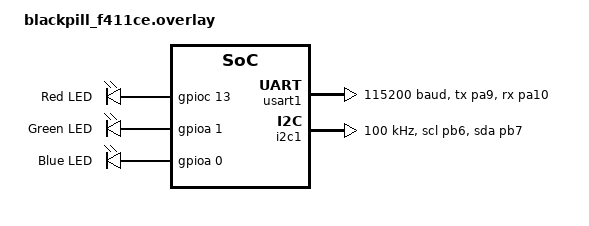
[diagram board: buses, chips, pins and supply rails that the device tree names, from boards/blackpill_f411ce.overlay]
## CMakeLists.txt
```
# CMakeLists.txt - Enhanced AHT10 project with LED control and UART
cmake_minimum_required(VERSION 3.20.0)

find_package(Zephyr REQUIRED HINTS $ENV{ZEPHYR_BASE})
project(aht10_led_uart_controller)

target_sources(app PRIVATE src/main.c)

# Set the board if not specified
if(NOT DEFINED BOARD)
    set(BOARD blackpill_f411ce)
endif()

# Add any additional compile definitions if needed
target_compile_definitions(app PRIVATE
    # Add any project-specific definitions here
)
```

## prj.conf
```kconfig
# prj.conf - Project Configuration for AHT10 with LED Control and UART

# I2C Configuration
CONFIG_I2C=y

# UART Configuration
CONFIG_UART_CONSOLE=y
CONFIG_CONSOLE=y
CONFIG_SERIAL=y
CONFIG_UART_INTERRUPT_DRIVEN=n

# GPIO Configuration
CONFIG_GPIO=y

# Printing and Logging
CONFIG_PRINTK=y
CONFIG_LOG=y
CONFIG_LOG_DEFAULT_LEVEL=3

# Standard C Library
CONFIG_NEWLIB_LIBC=y
CONFIG_NEWLIB_LIBC_FLOAT_PRINTF=y

# System Configuration
CONFIG_MAIN_STACK_SIZE=2048
CONFIG_SYSTEM_WORKQUEUE_STACK_SIZE=1024

# Device Tree support is enabled by default in Zephyr
# No explicit CONFIG_DT option needed
```

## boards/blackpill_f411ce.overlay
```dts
// blackpill_f411ce.overlay - Device Tree Overlay for STM32F411CEU6 BlackPill
// This file should be placed in your project root or boards directory

/ {
    aliases {
        led0 = &red_led;
        led1 = &green_led;
        led2 = &blue_led;
    };

    leds {
        compatible = "gpio-leds";
        
        red_led: led_0 {
            gpios = <&gpioc 13 GPIO_ACTIVE_HIGH>;  // PC13 - Red LED
            label = "Red LED";
        };
        
        green_led: led_1 {
            gpios = <&gpioa 1 GPIO_ACTIVE_HIGH>;   // PA1 - Green LED  
            label = "Green LED";
        };
        
        blue_led: led_2 {
            gpios = <&gpioa 0 GPIO_ACTIVE_HIGH>;   // PA0 - Blue LED
            label = "Blue LED";
        };
    };
};

// Enable UART1 for USB-TTL communication
&usart1 {
    status = "okay";
    current-speed = <115200>;
    pinctrl-0 = <&usart1_tx_pa9 &usart1_rx_pa10>;
    pinctrl-names = "default";
};

// Enable I2C1 for AHT10 sensor
&i2c1 {
    status = "okay";
    clock-frequency = <I2C_BITRATE_STANDARD>;
    pinctrl-0 = <&i2c1_scl_pb6 &i2c1_sda_pb7>;
    pinctrl-names = "default";
};

// Enable the necessary GPIO ports
&gpioa {
    status = "okay";
};

&gpiob {
    status = "okay";
};

&gpioc {
    status = "okay";
};
```

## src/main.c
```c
// main.c - AHT10 Temperature & Humidity Reader with LED Control and UART Output
// for STM32F411CEU6 BlackPill
#include <zephyr/kernel.h>
#include <zephyr/device.h>
#include <zephyr/drivers/i2c.h>
#include <zephyr/drivers/uart.h>
#include <zephyr/drivers/gpio.h>
#include <zephyr/sys/printk.h>
#include <zephyr/logging/log.h>
#include <stdio.h>
#include <string.h>

LOG_MODULE_REGISTER(aht10_reader, LOG_LEVEL_INF);

// AHT10 I2C address
#define AHT10_I2C_ADDR 0x38

// AHT10 Commands
#define AHT10_CMD_INIT          0xE1
#define AHT10_CMD_TRIGGER       0xAC
#define AHT10_CMD_SOFT_RESET    0xBA
#define AHT10_STATUS_BUSY       0x80
#define AHT10_STATUS_CALIBRATED 0x08

// Temperature and humidity thresholds for LED control
#define TEMP_LOW_THRESHOLD      20.0f   // Below this: Blue LED
#define TEMP_HIGH_THRESHOLD     25.0f   // Above this: Red LED
#define HUMIDITY_HIGH_THRESHOLD 60.0f   // Above this: Green LED

// GPIO LED definitions (adjust pins according to your setup)
#define LED_RED_NODE    DT_ALIAS(led0)      // Red LED - High temperature
#define LED_GREEN_NODE  DT_ALIAS(led1)      // Green LED - High humidity  
#define LED_BLUE_NODE   DT_ALIAS(led2)      // Blue LED - Low temperature

// Device pointers
static const struct device *i2c_dev;
static const struct device *uart_dev;

// GPIO LED specifications
static struct gpio_dt_spec red_led = GPIO_DT_SPEC_GET(LED_RED_NODE, gpios);
static struct gpio_dt_spec green_led = GPIO_DT_SPEC_GET(LED_GREEN_NODE, gpios);
static struct gpio_dt_spec blue_led = GPIO_DT_SPEC_GET(LED_BLUE_NODE, gpios);

// Function to initialize GPIO LEDs
int init_leds(void)
{
    int ret;
    
    printk("Initializing LEDs...\n");
    
    // Configure red LED
    if (!gpio_is_ready_dt(&red_led)) {
        printk("ERROR: Red LED GPIO device not ready\n");
        return -1;
    }
    ret = gpio_pin_configure_dt(&red_led, GPIO_OUTPUT_INACTIVE);
    if (ret < 0) {
        printk("ERROR: Failed to configure red LED GPIO\n");
        return ret;
    }
    
    // Configure green LED
    if (!gpio_is_ready_dt(&green_led)) {
        printk("ERROR: Green LED GPIO device not ready\n");
        return -1;
    }
    ret = gpio_pin_configure_dt(&green_led, GPIO_OUTPUT_INACTIVE);
    if (ret < 0) {
        printk("ERROR: Failed to configure green LED GPIO\n");
        return ret;
    }
    
    // Configure blue LED
    if (!gpio_is_ready_dt(&blue_led)) {
        printk("ERROR: Blue LED GPIO device not ready\n");
        return -1;
    }
    ret = gpio_pin_configure_dt(&blue_led, GPIO_OUTPUT_INACTIVE);
    if (ret < 0) {
        printk("ERROR: Failed to configure blue LED GPIO\n");
        return ret;
    }
    
    printk("LEDs initialized successfully\n");
    return 0;
}

// Function to control LEDs based on temperature and humidity
void control_leds(float temperature, float humidity)
{
    // Turn off all LEDs first
    gpio_pin_set_dt(&red_led, 0);
    gpio_pin_set_dt(&green_led, 0);
    gpio_pin_set_dt(&blue_led, 0);
    
    // Control LEDs based on sensor readings
    if (temperature > TEMP_HIGH_THRESHOLD) {
        gpio_pin_set_dt(&red_led, 1);  // Red LED for high temperature
        printk("LED Status: RED (High Temperature)\n");
    } else if (temperature < TEMP_LOW_THRESHOLD) {
        gpio_pin_set_dt(&blue_led, 1); // Blue LED for low temperature
        printk("LED Status: BLUE (Low Temperature)\n");
    }
    
    if (humidity > HUMIDITY_HIGH_THRESHOLD) {
        gpio_pin_set_dt(&green_led, 1); // Green LED for high humidity
        printk("LED Status: GREEN (High Humidity)\n");
    }
    
    // If no conditions met, all LEDs remain off
    if (temperature >= TEMP_LOW_THRESHOLD && temperature <= TEMP_HIGH_THRESHOLD && 
        humidity <= HUMIDITY_HIGH_THRESHOLD) {
        printk("LED Status: All OFF (Normal conditions)\n");
    }
}

// Function to send data via UART
void send_uart_data(float temperature, float humidity)
{
    char uart_buffer[128];
    int len;
    
    // Format the data as JSON for easier parsing
    len = snprintf(uart_buffer, sizeof(uart_buffer),
                   "{\"temperature\":%.2f,\"humidity\":%.2f,\"timestamp\":%lld}\r\n",
                   temperature, humidity, k_uptime_get());
    
    // Send via UART
    for (int i = 0; i < len; i++) {
        uart_poll_out(uart_dev, uart_buffer[i]);
    }
    
    // Also send human-readable format
    len = snprintf(uart_buffer, sizeof(uart_buffer),
                   "TEMP: %.2f°C, HUMID: %.2f%%, TIME: %lldms\r\n",
                   temperature, humidity, k_uptime_get());
    
    for (int i = 0; i < len; i++) {
        uart_poll_out(uart_dev, uart_buffer[i]);
    }
}

// Function to initialize AHT10 sensor
int aht10_init(void)
{
    uint8_t init_cmd[3] = {AHT10_CMD_INIT, 0x08, 0x00};
    uint8_t status;
    int ret;
    
    printk("Initializing AHT10 sensor...\n");
    
    // Send soft reset command first
    uint8_t reset_cmd = AHT10_CMD_SOFT_RESET;
    ret = i2c_write(i2c_dev, &reset_cmd, 1, AHT10_I2C_ADDR);
    if (ret != 0) {
        printk("ERROR: Failed to send reset command to AHT10\n");
        return ret;
    }
    
    // Wait for reset to complete
    k_msleep(20);
    
    // Send initialization command
    ret = i2c_write(i2c_dev, init_cmd, 3, AHT10_I2C_ADDR);
    if (ret != 0) {
        printk("ERROR: Failed to initialize AHT10\n");
        return ret;
    }
    
    // Wait for initialization
    k_msleep(10);
    
    // Check if sensor is calibrated
    ret = i2c_read(i2c_dev, &status, 1, AHT10_I2C_ADDR);
    if (ret != 0) {
        printk("ERROR: Failed to read AHT10 status\n");
        return ret;
    }
    
    if (!(status & AHT10_STATUS_CALIBRATED)) {
        printk("ERROR: AHT10 not calibrated (status: 0x%02X)\n", status);
        return -1;
    }
    
    printk("AHT10 initialized successfully (status: 0x%02X)\n", status);
    return 0;
}

// Function to read temperature and humidity from AHT10
int aht10_read_data(float *temperature, float *humidity)
{
    uint8_t trigger_cmd[3] = {AHT10_CMD_TRIGGER, 0x33, 0x00};
    uint8_t data[6];
    uint32_t raw_humidity, raw_temperature;
    int ret;
    
    // Send measurement trigger command
    ret = i2c_write(i2c_dev, trigger_cmd, 3, AHT10_I2C_ADDR);
    if (ret != 0) {
        printk("ERROR: Failed to trigger AHT10 measurement\n");
        return ret;
    }
    
    // Wait for measurement to complete (typical 75ms)
    k_msleep(80);
    
    // Check if measurement is ready
    do {
        ret = i2c_read(i2c_dev, data, 1, AHT10_I2C_ADDR);
        if (ret != 0) {
            printk("ERROR: Failed to read AHT10 status\n");
            return ret;
        }
        
        if (data[0] & AHT10_STATUS_BUSY) {
            k_msleep(10);  // Wait a bit more if still busy
        }
    } while (data[0] & AHT10_STATUS_BUSY);
    
    // Read the full 6-byte data
    ret = i2c_read(i2c_dev, data, 6, AHT10_I2C_ADDR);
    if (ret != 0) {
        printk("ERROR: Failed to read AHT10 data\n");
        return ret;
    }
    
    // Extract raw humidity (20-bit, bits 19:0 of data[1:3])
    raw_humidity = ((uint32_t)data[1] << 12) | 
                   ((uint32_t)data[2] << 4) | 
                   ((uint32_t)data[3] >> 4);
    
    // Extract raw temperature (20-bit, bits 19:0 of data[3:5])
    raw_temperature = (((uint32_t)data[3] & 0x0F) << 16) | 
                      ((uint32_t)data[4] << 8) | 
                      (uint32_t)data[5];
    
    // Convert to actual values
    *humidity = ((float)raw_humidity / 1048576.0f) * 100.0f;
    *temperature = (((float)raw_temperature / 1048576.0f) * 200.0f) - 50.0f;
    
    return 0;
}

// Function to scan I2C bus
void scan_i2c_bus(void)
{
    uint8_t dummy_data = 0;
    int ret;
    int devices_found = 0;
    
    printk("Starting I2C bus scan...\n");
    printk("Scanning addresses 0x08 to 0x77\n");
    printk("     0  1  2  3  4  5  6  7  8  9  a  b  c  d  e  f\n");
    
    for (int addr = 0; addr < 128; addr++) {
        // Print address row header
        if (addr % 16 == 0) {
            printk("%02x: ", addr);
        }
        
        // Skip reserved addresses
        if (addr < 0x08 || addr > 0x77) {
            printk("   ");
        } else {
            // Try to communicate with device at this address
            ret = i2c_write(i2c_dev, &dummy_data, 0, addr);
            
            if (ret == 0) {
                // Device found
                printk("%02x ", addr);
                devices_found++;
            } else {
                // No device at this address  
                printk("-- ");
            }
        }
        
        // Print newline at end of row
        if ((addr + 1) % 16 == 0) {
            printk("\n");
        }
        
        // Small delay between scans
        k_msleep(1);
    }
    
    printk("\nScan complete. Found %d device(s).\n\n", devices_found);
}

int main(void)
{
    float temperature, humidity;
    int ret;
    
    printk("STM32F411CEU6 BlackPill AHT10 with LED Control & UART Output\n");
    printk("============================================================\n");
    
    // Get I2C device
    i2c_dev = DEVICE_DT_GET(DT_NODELABEL(i2c1));
    if (!device_is_ready(i2c_dev)) {
        printk("ERROR: I2C device not ready\n");
        return -1;
    }
    printk("I2C device ready\n");
    
    // Get UART device
    uart_dev = DEVICE_DT_GET(DT_CHOSEN(zephyr_console));
    if (!device_is_ready(uart_dev)) {
        printk("ERROR: UART device not ready\n");
        return -1;
    }
    printk("UART device ready\n");
    
    // Initialize LEDs
    ret = init_leds();
    if (ret != 0) {
        printk("ERROR: Failed to initialize LEDs\n");
        return -1;
    }
    
    // Test LEDs briefly
    printk("Testing LEDs...\n");
    gpio_pin_set_dt(&red_led, 1);
    k_msleep(500);
    gpio_pin_set_dt(&red_led, 0);
    gpio_pin_set_dt(&green_led, 1);
    k_msleep(500);
    gpio_pin_set_dt(&green_led, 0);
    gpio_pin_set_dt(&blue_led, 1);
    k_msleep(500);
    gpio_pin_set_dt(&blue_led, 0);
    printk("LED test complete\n");
    
    // Scan I2C bus first to verify AHT10 is detected
    scan_i2c_bus();
    
    // Initialize AHT10 sensor
    ret = aht10_init();
    if (ret != 0) {
        printk("ERROR: Failed to initialize AHT10 sensor\n");
        return -1;
    }
    
    // Send startup message via UART
    char startup_msg[] = "AHT10 Temperature & Humidity Monitor Started\r\n";
    for (int i = 0; i < strlen(startup_msg); i++) {
        uart_poll_out(uart_dev, startup_msg[i]);
    }
    
    printk("Starting temperature and humidity readings...\n");
    printk("Thresholds: Low Temp: %.1f°C, High Temp: %.1f°C, High Humidity: %.1f%%\n",
           TEMP_LOW_THRESHOLD, TEMP_HIGH_THRESHOLD, HUMIDITY_HIGH_THRESHOLD);
    printk("============================================\n\n");
    
    while (1) {
        // Read temperature and humidity
        ret = aht10_read_data(&temperature, &humidity);
        
        if (ret == 0) {
            // Display on console
            printk("Temperature: %.2f°C\n", temperature);
            printk("Humidity: %.2f%%\n", humidity);
            
            // Control LEDs based on readings
            control_leds(temperature, humidity);
            
            // Send data via UART
            send_uart_data(temperature, humidity);
            
            printk("------------------------\n");
        } else {
            printk("ERROR: Failed to read AHT10 data (error: %d)\n", ret);
            
            // Send error via UART
            char error_msg[] = "ERROR: Sensor read failed\r\n";
            for (int i = 0; i < strlen(error_msg); i++) {
                uart_poll_out(uart_dev, error_msg[i]);
            }
        }
        
        // Wait 2 seconds before next reading
        k_sleep(K_SECONDS(2));
    }
    
    return 0;
}
```
